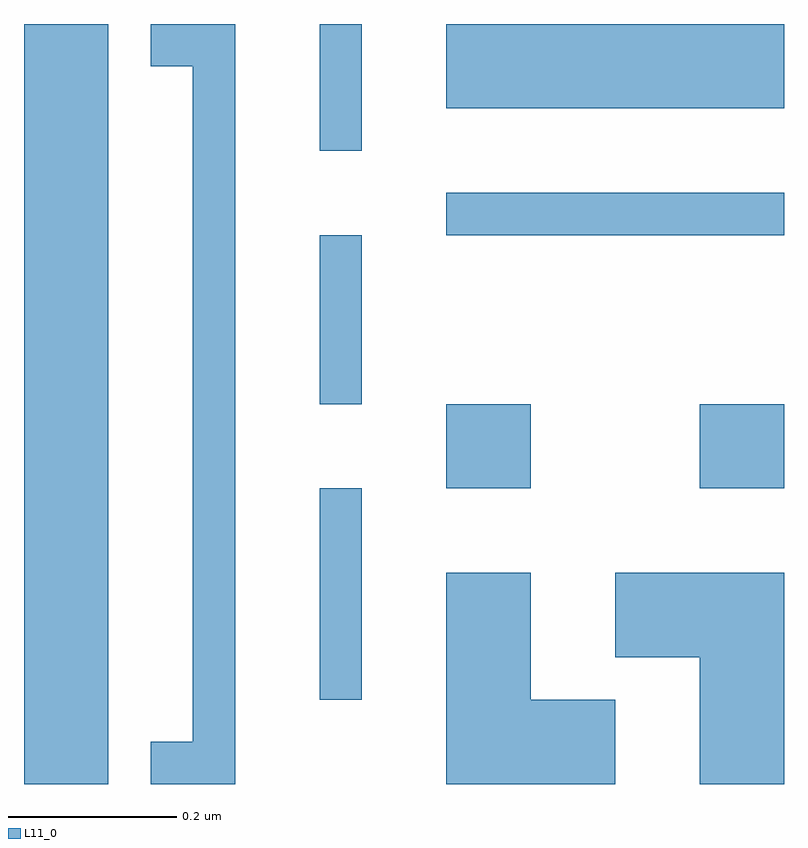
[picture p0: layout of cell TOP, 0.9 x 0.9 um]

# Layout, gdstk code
import gdstk
lib = gdstk.Library(unit=1e-6, precision=1e-09)
def R(c, l, rs):  # rectangles x0, y0, x1, y1
    for r in rs: c.add(gdstk.rectangle(r[:2], r[2:], *l))
def P(c, l, *ps):  # polygons
    for p in ps: c.add(gdstk.Polygon(p, *l))
L11_0 = (11, 0)

top = lib.new_cell('TOP')
R(top, L11_0, [(0.1,0.05,0.2,0.95), (0.6,0.05,0.7,0.3), (0.6,0.05,0.7,0.3), (0.7,0.05,0.8,0.15), (0.9,0.05,1,0.3), (0.45,0.15,0.5,0.4), (0.45,0.15,0.5,0.4), (0.8,0.2,0.9,0.3), (0.8,0.2,0.9,0.3), (0.6,0.4,0.7,0.5), (0.6,0.4,0.7,0.5), (0.9,0.4,1,0.5), (0.9,0.4,1,0.5), (0.45,0.5,0.5,0.7), (0.45,0.5,0.5,0.7), (0.6,0.7,1,0.75), (0.45,0.8,0.5,0.95), (0.45,0.8,0.5,0.95), (0.6,0.85,1,0.95)])
P(top, L11_0, [(0.25,0.05),(0.25,0.1),(0.3,0.1),(0.3,0.9),(0.25,0.9),(0.25,0.95),(0.35,0.95),(0.35,0.05)])

lib.write_gds('TOP.gds')
